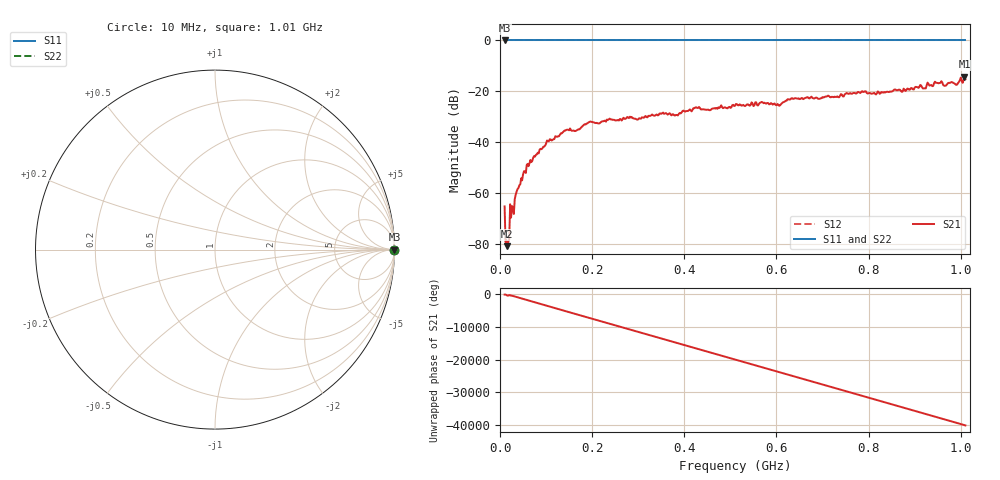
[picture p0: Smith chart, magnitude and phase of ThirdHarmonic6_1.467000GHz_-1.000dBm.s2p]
! 8/16/2025 5:05:17 PM
! C:\ANRITSUVNA\TEMP\TEMP.S2P
! CHANNEL.1
! TR.MEASUREMENT
! RAW.DATA
! RF.CORRECTION.OFF
! AVERAGING.OFF
! IF.BANDWIDTH: 5KHZ
! SWEEPTYPE:  FREQ.SWEEP(Linear)
! Reference Plane Port Info
! PORT:  PORT1  PORT2
! DISTANCE:  0  m  0  m
! TIME:  0  s  0  s
! PHASE.OFFSET:  0  deg.  0  deg.
! LOSS:  0  dB  0  dB
! REF.LOSS:  0  dB  0  dB
! REF.FREQ:  0  Hz  0  Hz
! Power Info
! POWER:  -20  dBm  -20  dBm
! EFF.POWER:  -20  dBm  -20  dBm
! SOURCE.ATTEN:  0  dB  0  dB
! TEST.ATTEN:  0  dB  0  dB
# GHZ S RI R 50.0
! FREQ.GHZ  S11RE  S11IM  S21RE  S21IM  S12RE  S12IM  S22RE  S22IM
!; PortSelection: Port_12
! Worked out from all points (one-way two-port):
!   501 points, 10 MHz to 1.01 GHz, reference 50 ohm
!   highest |S21| = -14.27 dB at 1.008 GHz (marker M1); lowest = -80.9 dB at 16 MHz (marker M2)
!   lowest |S11| = 0.0 dB at 10 MHz (marker M3)
!   |S11| at or under -10 dB: nowhere
!   |S22| runs from 0.0 to 0.0 dB; largest |S21 - S12| = 1.2
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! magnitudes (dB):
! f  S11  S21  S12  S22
! 10 MHz  0.0  -65.3  0.0  0.0
! 16 MHz  0.0  -80.9  0.0  0.0
! 26 MHz  0.0  -65.1  0.0  0.0
! 36 MHz  0.0  -59.5  0.0  0.0
! 62 MHz  0.0  -49.5  0.0  0.0
! 106 MHz  0.0  -39.7  0.0  0.0
! 142 MHz  0.0  -35.4  0.0  0.0
! 178 MHz  0.0  -33.9  0.0  0.0
! 196 MHz  0.0  -31.9  0.0  0.0
! 344 MHz  0.0  -29.4  0.0  0.0
! 382 MHz  0.0  -29.3  0.0  0.0
! 424 MHz  0.0  -26.3  0.0  0.0
! 510 MHz  0.0  -25.7  0.0  0.0
! 604 MHz  0.0  -25.3  0.0  0.0
! 630 MHz  0.0  -23.2  0.0  0.0
! 678 MHz  0.0  -22.6  0.0  0.0
! 844 MHz  0.0  -20.3  0.0  0.0
! 920 MHz  0.0  -18.8  0.0  0.0
! 946 MHz  0.0  -16.7  0.0  0.0
! 990 MHz  0.0  -17.5  0.0  0.0
! 1.008 GHz  0.0  -14.3  0.0  0.0
! 1.01 GHz  0.0  -15.3  0.0  0.0
